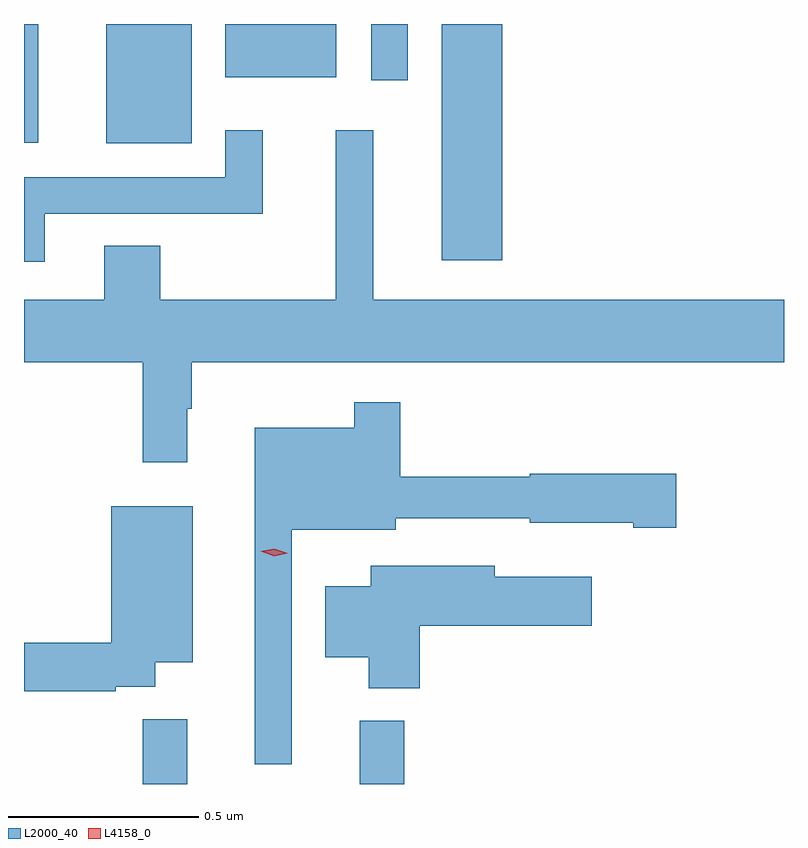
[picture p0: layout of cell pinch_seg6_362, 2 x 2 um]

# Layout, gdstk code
import gdstk
lib = gdstk.Library(unit=1e-6, precision=1e-09)
def R(c, l, rs):  # rectangles x0, y0, x1, y1
    for r in rs: c.add(gdstk.rectangle(r[:2], r[2:], *l))
def P(c, l, *ps):  # polygons
    for p in ps: c.add(gdstk.Polygon(p, *l))
L2000_40 = (2000, 40)
L4158_0 = (4158, 0)

pinch_seg6_362 = lib.new_cell('pinch_seg6_362')
R(pinch_seg6_362, L2000_40, [(683.809,947.558,683.927,947.729), (684.38,947.558,684.497,947.725), (684.596,948.936,684.755,949.558), (683.714,949.244,683.938,949.558), (683.497,949.245,683.534,949.558), (684.411,949.41,684.507,949.558), (684.026,949.418,684.319,949.558)])
P(pinch_seg6_362, L2000_40, [(683.551,949.059),(684.125,949.059),(684.125,949.279),(684.027,949.279),(684.027,949.155),(683.497,949.155),(683.497,948.932),(683.551,948.932)],
  [(684.317,949.279),(684.317,948.832),(683.856,948.832),(683.856,948.974),(683.708,948.974),(683.708,948.832),(683.497,948.832),(683.497,948.668),(683.809,948.668),(683.809,948.405),(683.926,948.405),(683.926,948.545),(683.938,948.545),(683.938,948.668),(685.497,948.668),(685.497,948.832),(684.416,948.832),(684.416,949.279)],
  [(684.201,948.227),(684.475,948.227),(684.475,948.258),(684.828,948.258),(684.828,948.245),(685.1,948.245),(685.1,948.233),(685.213,948.233),(685.213,948.375),(684.828,948.375),(684.828,948.367),(684.487,948.367),(684.487,948.562),(684.366,948.562),(684.366,948.496),(684.104,948.496),(684.104,947.61),(684.201,947.61)],
  [(683.738,947.814),(683.842,947.814),(683.842,947.879),(683.941,947.879),(683.941,948.289),(683.726,948.289),(683.726,947.93),(683.497,947.93),(683.497,947.802),(683.738,947.802)],
  [(684.539,947.974),(684.991,947.974),(684.991,948.103),(684.736,948.103),(684.736,948.133),(684.41,948.133),(684.41,948.079),(684.29,948.079),(684.29,947.891),(684.404,947.891),(684.404,947.81),(684.539,947.81)])
P(pinch_seg6_362, L4158_0, [(684.155,948.157),(684.12,948.17),(684.12,948.17),(684.12,948.17),(684.156,948.177),(684.191,948.165),(684.191,948.165),(684.191,948.165)])

lib.write_gds('pinch_seg6_362.gds')
